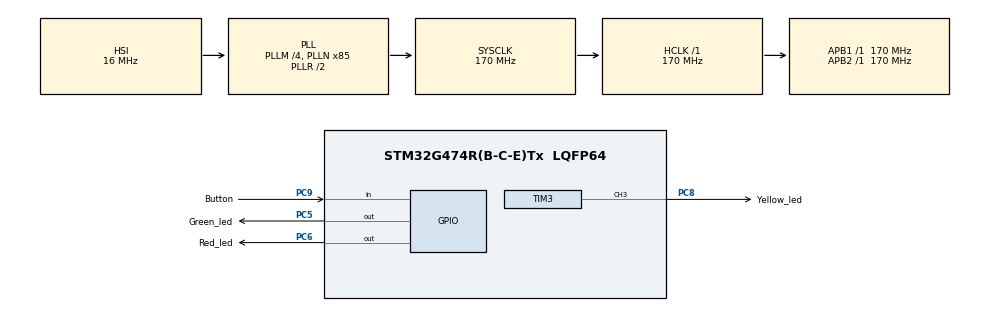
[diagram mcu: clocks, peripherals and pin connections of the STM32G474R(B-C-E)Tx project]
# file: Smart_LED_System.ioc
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Mcu.Family=STM32G4
Mcu.Name=STM32G474R(B-C-E)Tx
Mcu.Package=LQFP64
NUCLEO-G474RE.BUTTON=1
NUCLEO-G474RE.LD2=true
NUCLEO-G474RE.VCP=true
NVIC.EXTI15_10_IRQn=true\:0\:0\:false\:false\:true\:false\:true\:true
NVIC.PriorityGroup=NVIC_PRIORITYGROUP_4
PA13.GPIO_Label=T_SWDIO
PA13.Mode=Serial_Wire
PA13.Signal=SYS_JTMS-SWDIO
PA14.GPIO_Label=T_SWCLK
PA14.Mode=Serial_Wire
PA14.Signal=SYS_JTCK-SWCLK
PA2.Signal=LPUART1_TX
PA3.Signal=LPUART1_RX
PB3.GPIO_Label=T_SWO
PB3.Signal=SYS_JTDO-SWO
PC14-OSC32_IN.GPIO_Label=RCC_OSC32_IN
PC14-OSC32_IN.Signal=RCC_OSC32_IN
PC15-OSC32_OUT.GPIO_Label=RCC_OSC32_OUT
PC15-OSC32_OUT.Signal=RCC_OSC32_OUT
PC5.GPIO_Label=Green_led
PC5.Signal=GPIO_Output
PC6.GPIO_Label=Red_led
PC6.Signal=GPIO_Output
PC8.GPIO_Label=Yellow_led
PC8.Signal=S_TIM3_CH3
PC9.GPIO_Label=Button
PC9.GPIO_PuPd=GPIO_PULLUP
PC9.Signal=GPIO_Input
PF0-OSC_IN.GPIO_Label=RCC_OSC_IN
PF0-OSC_IN.Mode=HSE-External-Clock-Source
PF0-OSC_IN.Signal=RCC_OSC_IN
PF1-OSC_OUT.GPIO_Label=RCC_OSC_OUT
PF1-OSC_OUT.Signal=RCC_OSC_OUT
ProjectManager.HeapSize=0x200
ProjectManager.StackSize=0x400
ProjectManager.TargetToolchain=STM32CubeIDE
RCC.ADC12Freq_Value=170000000
RCC.ADC345Freq_Value=170000000
RCC.AHBFreq_Value=170000000
RCC.APB1Freq_Value=170000000
RCC.APB1TimFreq_Value=170000000
RCC.APB2Freq_Value=170000000
RCC.APB2TimFreq_Value=170000000
RCC.CortexFreq_Value=170000000
RCC.EXTERNAL_CLOCK_VALUE=12288000
RCC.HCLKFreq_Value=170000000
RCC.HSE_VALUE=24000000
RCC.HSI48_VALUE=48000000
RCC.HSI_VALUE=16000000
RCC.LSE_VALUE=32768
RCC.PLLM=RCC_PLLM_DIV4
RCC.PLLN=85
RCC.RTCClockSelection=RCC_RTCCLKSOURCE_LSE
RCC.SYSCLKFreq_VALUE=170000000
RCC.SYSCLKSource=RCC_SYSCLKSOURCE_PLLCLK
RCC.USBFreq_Value=170000000
RCC.VCOOutputFreq_Value=340000000
SH.S_TIM3_CH3.0=TIM3_CH3,PWM Generation3 CH3
TIM3.Channel-PWM\ Generation3\ CH3=TIM_CHANNEL_3
TIM3.PeriodNoDither=999
TIM3.Prescaler=169
VP_NUCLEO-G474RE_VS_BSP_COMMON.Mode=COMMON
VP_SYS_VS_DBSignals.Mode=DisableDeadBatterySignals
VP_TIM3_VS_ClockSourceINT.Mode=Internal
board=NUCLEO-G474RE

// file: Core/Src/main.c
/* USER CODE BEGIN Header */
/**
  ******************************************************************************
  * @file           : main.c
  * @brief          : Main program body
  ******************************************************************************
  * @attention
  *
  * Copyright (c) 2026 STMicroelectronics.
  * All rights reserved.
  *
  * This software is licensed under terms that can be found in the LICENSE file
  * in the root directory of this software component.
  * If no LICENSE file comes with this software, it is provided AS-IS.
  *
  ******************************************************************************
  */
/* USER CODE END Header */
#include "main.h"

TIM_HandleTypeDef htim3;

void SystemClock_Config(void);
static void MX_GPIO_Init(void);
static void MX_TIM3_Init(void);

/* USER CODE BEGIN 0 */

/* =========================================================
 * 第一部分：腳位定義
 * ========================================================= */

#define GREEN_PORT GPIOC               // 綠燈使用 GPIOC
#define GREEN_PIN GPIO_PIN_5           // 綠燈連接 PC5

#define RED_PORT GPIOC                 // 紅燈使用 GPIOC
#define RED_PIN GPIO_PIN_6             // 紅燈連接 PC6

#define BUTTON_PORT GPIOC              // 按鈕使用 GPIOC
#define BUTTON_PIN GPIO_PIN_9          // 按鈕連接 PC9

/* =========================================================
 * 第二部分：時間參數
 * ========================================================= */

#define GREEN_TIME 3000U               // 綠燈恆亮 3 秒
#define YELLOW_TIME 6000U              // 黃燈總共呼吸 6 秒
#define BREATH_PERIOD 2000U            // 每次呼吸 2 秒，6 秒完成 3 次
#define BREATH_STEP 10U                // 每 10 毫秒更新一次呼吸亮度
#define FLASH_TIME 250U                // 紅燈每 250 毫秒切換亮滅
#define DEBOUNCE_TIME 30U              // 按鈕防彈跳時間 30 毫秒

#define PWM_MAX 999U                   // PWM 最大比較值，對應 ARR=999

/* =========================================================
 * 第三部分：系統狀態
 * ========================================================= */

typedef enum                           // 建立系統狀態型態
{
    STATE_GREEN,                       // 狀態一：綠燈恆亮
    STATE_YELLOW,                      // 狀態二：黃燈呼吸
    STATE_RED                          // 狀態三：紅燈持續閃爍
} SystemState;                         // 狀態型態名稱

static SystemState currentState = STATE_GREEN; // 系統預設為綠燈

/* =========================================================
 * 第四部分：時間變數
 * ========================================================= */

static uint32_t stateStartTime = 0U;    // 記錄目前狀態開始時間
static uint32_t lastFlashTime = 0U;     // 記錄紅燈上次切換時間
static uint32_t lastBreathTime = 0U;    // 記錄黃燈上次更新時間

/* =========================================================
 * 第五部分：按鈕變數
 * ========================================================= */

static GPIO_PinState lastRawButton = GPIO_PIN_SET; // 上一次原始按鈕電位
static GPIO_PinState stableButton = GPIO_PIN_SET;  // 防彈跳後的穩定電位
static uint32_t buttonChangeTime = 0U;             // 按鈕電位改變時間

/* =========================================================
 * 第六部分：隨機數變數
 * ========================================================= */

static uint32_t randomSeed = 0x12345678U; // 偽隨機數種子

/* =========================================================
 * 第七部分：函式宣告
 * ========================================================= */

static void AllLED_Off(void);                    // 關閉全部 LED
static void ChangeState(SystemState nextState);  // 切換系統狀態
static uint8_t ButtonPressed(void);              // 偵測按鈕
static void PrivacySystem_Update(void);          // 更新系統狀態

/* =========================================================
 * 第八部分：關閉所有 LED
 * ========================================================= */

static void AllLED_Off(void)            // 關閉所有 LED 的函式
{
    HAL_GPIO_WritePin(GREEN_PORT, GREEN_PIN, GPIO_PIN_RESET); // 關閉綠燈

    HAL_GPIO_WritePin(RED_PORT, RED_PIN, GPIO_PIN_RESET); // 關閉紅燈

    __HAL_TIM_SET_COMPARE(&htim3, TIM_CHANNEL_3, 0U); // 黃燈亮度設為 0
}

/* =========================================================
 * 第九部分：切換系統狀態
 * ========================================================= */

static void ChangeState(SystemState nextState) // 切換狀態函式
{
    currentState = nextState;                 // 更新目前狀態

    stateStartTime = HAL_GetTick();           // 記錄狀態開始時間

    lastFlashTime = stateStartTime;           // 重設紅燈計時

    lastBreathTime = stateStartTime;          // 重設黃燈計時

    AllLED_Off();                             // 切換狀態前先關閉全部 LED

    switch (currentState)                     // 判斷要進入哪個狀態
    {
        case STATE_GREEN:                     // 如果進入綠燈狀態

            HAL_GPIO_WritePin(GREEN_PORT, GREEN_PIN, GPIO_PIN_SET); // 開啟綠燈

            break;                            // 結束綠燈設定

        case STATE_YELLOW:                    // 如果進入黃燈狀態

            // 黃燈亮度由主控制函式逐步更新

            break;                            // 結束黃燈設定

        case STATE_RED:                       // 如果進入紅燈狀態

            HAL_GPIO_WritePin(RED_PORT, RED_PIN, GPIO_PIN_SET); // 先開啟紅燈

            break;                            // 結束紅燈設定

        default:                              // 如果出現未定義狀態

            break;                            // 不執行其他動作
    }
}

/* =========================================================
 * 第十部分：按鈕防彈跳偵測
 * ========================================================= */

static uint8_t ButtonPressed(void)               // 偵測新的按鈕按下事件
{
    GPIO_PinState rawButton;                     // 儲存按鈕原始電位

    uint32_t now = HAL_GetTick();                // 取得目前時間

    rawButton = HAL_GPIO_ReadPin(BUTTON_PORT, BUTTON_PIN); // 讀取 PC9

    if (rawButton != lastRawButton)              // 如果按鈕原始電位改變
    {
        lastRawButton = rawButton;               // 記錄新的原始電位

        buttonChangeTime = now;                 // 記錄按鈕電位改變時間
    }

    if ((now - buttonChangeTime) >= DEBOUNCE_TIME) // 電位穩定 30 毫秒
    {
        if (rawButton != stableButton)           // 如果穩定後的電位有改變
        {
            stableButton = rawButton;            // 更新穩定後的按鈕電位

            if (stableButton == GPIO_PIN_RESET)  // 如果按鈕被按下
            {
                return 1U;                      // 回傳 1，表示按下
            }
        }
    }

    return 0U;                                   // 沒有新的按下事件
}

/* =========================================================
 * 第十一部分：主要控制函式
 * ========================================================= */

static void PrivacySystem_Update(void)           // 系統主要控制函式
{
    uint32_t now = HAL_GetTick();                // 取得目前系統時間

    uint32_t elapsed = now - stateStartTime;     // 計算目前狀態經過的時間

    uint32_t breathPosition = 0U;                // 記錄目前呼吸週期的位置

    uint32_t brightness = 0U;                    // 記錄 PWM 亮度

    uint8_t pressed = ButtonPressed();           // 偵測按鈕是否被按下

    switch (currentState)                        // 根據目前狀態執行功能
    {
        /* =================================================
         * 狀態一：綠燈恆亮 3 秒
         * ================================================= */

        case STATE_GREEN:                        // 進入綠燈狀態

            if (elapsed >= GREEN_TIME)           // 如果綠燈已經持續 3 秒
            {
                ChangeState(STATE_YELLOW);       // 切換至黃燈呼吸狀態
            }

            break;                               // 結束綠燈狀態

        /* =================================================
         * 狀態二：黃燈 6 秒內呼吸 3 次
         * ================================================= */

        case STATE_YELLOW:                       // 進入黃燈呼吸狀態

            if (elapsed >= YELLOW_TIME)          // 如果黃燈已經持續 6 秒
            {
                __HAL_TIM_SET_COMPARE(&htim3, TIM_CHANNEL_3, 0U); // 關閉黃燈

                randomSeed ^= randomSeed << 13;  // 產生偽隨機數第一步

                randomSeed ^= randomSeed >> 17;  // 產生偽隨機數第二步

                randomSeed ^= randomSeed << 5;   // 產生偽隨機數第三步

                if ((randomSeed & 1U) == 0U)     // 如果隨機結果為 0
                {
                    ChangeState(STATE_GREEN);    // 返回綠燈重新循環
                }
                else                            // 如果隨機結果為 1
                {
                    ChangeState(STATE_RED);      // 進入紅燈警示狀態
                }
            }
            else if ((now - lastBreathTime) >= BREATH_STEP) // 每 10 毫秒更新一次
            {
                lastBreathTime = now;            // 記錄這次更新時間

                breathPosition = elapsed % BREATH_PERIOD; // 取得 2 秒內的位置

                if (breathPosition <= BREATH_PERIOD / 2U) // 每次呼吸前 1 秒
                {
                    brightness = (breathPosition * PWM_MAX) / (BREATH_PERIOD / 2U); // 逐漸變亮
                }
                else                            // 每次呼吸後 1 秒
                {
                    brightness = ((BREATH_PERIOD - breathPosition) * PWM_MAX) / (BREATH_PERIOD / 2U); // 逐漸變暗
                }

                __HAL_TIM_SET_COMPARE(&htim3, TIM_CHANNEL_3, brightness); // 更新 PWM 亮度
            }

            break;                               // 結束黃燈狀態

        /* =================================================
         * 狀態三：紅燈持續閃爍
         * ================================================= */

        case STATE_RED:                          // 進入紅燈警示狀態

            if (pressed == 1U)                    // 判斷是否按下按鈕
            {
                ChangeState(STATE_GREEN);        // 按下後返回綠燈
            }
            else if ((now - lastFlashTime) >= FLASH_TIME) // 每隔 250 毫秒
            {
                lastFlashTime = now;             // 記錄切換時間

                HAL_GPIO_TogglePin(RED_PORT, RED_PIN); // 切換紅燈亮滅
            }

            // 沒按按鈕時，保持 STATE_RED 狀態並持續閃爍

            break;                               // 結束紅燈狀態

        /* =================================================
         * 異常狀態處理
         * ================================================= */

        default:                                 // 如果系統進入未知狀態

            ChangeState(STATE_GREEN);           // 返回綠燈重新開始

            break;                               // 結束狀態判斷
    }
}

/* USER CODE END 0 */

int main(void)
{

  /* MCU Configuration--------------------------------------------------------*/

  /* Reset of all peripherals, Initializes the Flash interface and the Systick. */
  HAL_Init();

  /* Configure the system clock */
  SystemClock_Config();

  /* Initialize all configured peripherals */
  MX_GPIO_Init();
  MX_TIM3_Init();
  /* USER CODE BEGIN 2 */

  // 啟動 TIM3 Channel 3 PWM
  if (HAL_TIM_PWM_Start(&htim3, TIM_CHANNEL_3) != HAL_OK)
  {
      Error_Handler();                             // 啟動失敗時進入錯誤處理
  }

  // 將黃色 LED 初始亮度設定為 0
  __HAL_TIM_SET_COMPARE(&htim3, TIM_CHANNEL_3, 0U);

  // 讀取按鈕初始狀態
  lastRawButton = HAL_GPIO_ReadPin(BUTTON_PORT, BUTTON_PIN);

  // 初始化按鈕穩定狀態
  stableButton = lastRawButton;

  // 記錄按鈕初始化時間
  buttonChangeTime = HAL_GetTick();

  // 將系統時間混入隨機種子
  randomSeed ^= HAL_GetTick();

  // 避免隨機種子為 0
  if (randomSeed == 0U)
  {
      randomSeed = 0x12345678U;                    // 使用非零隨機種子
  }

  // 設定系統初始狀態為綠燈
  ChangeState(STATE_GREEN);

  /* USER CODE END 2 */

  /* Infinite loop */
  while (1)
  {

	  PrivacySystem_Update();     // 持續更新 LED、按鈕與系統狀態

  }
}

void SystemClock_Config(void)
{
  RCC_OscInitTypeDef RCC_OscInitStruct = {0};
  RCC_ClkInitTypeDef RCC_ClkInitStruct = {0};

  /** Configure the main internal regulator output voltage
  */
  HAL_PWREx_ControlVoltageScaling(PWR_REGULATOR_VOLTAGE_SCALE1_BOOST);

  /** Initializes the RCC Oscillators according to the specified parameters
  * in the RCC_OscInitTypeDef structure.
  */
  RCC_OscInitStruct.OscillatorType = RCC_OSCILLATORTYPE_HSI;
  RCC_OscInitStruct.HSIState = RCC_HSI_ON;
  RCC_OscInitStruct.HSICalibrationValue = RCC_HSICALIBRATION_DEFAULT;
  RCC_OscInitStruct.PLL.PLLState = RCC_PLL_ON;
  RCC_OscInitStruct.PLL.PLLSource = RCC_PLLSOURCE_HSI;
  RCC_OscInitStruct.PLL.PLLM = RCC_PLLM_DIV4;
  RCC_OscInitStruct.PLL.PLLN = 85;
  RCC_OscInitStruct.PLL.PLLP = RCC_PLLP_DIV2;
  RCC_OscInitStruct.PLL.PLLQ = RCC_PLLQ_DIV2;
  RCC_OscInitStruct.PLL.PLLR = RCC_PLLR_DIV2;
  if (HAL_RCC_OscConfig(&RCC_OscInitStruct) != HAL_OK)
  {
    Error_Handler();
  }

  /** Initializes the CPU, AHB and APB buses clocks
  */
  RCC_ClkInitStruct.ClockType = RCC_CLOCKTYPE_HCLK|RCC_CLOCKTYPE_SYSCLK
                              |RCC_CLOCKTYPE_PCLK1|RCC_CLOCKTYPE_PCLK2;
  RCC_ClkInitStruct.SYSCLKSource = RCC_SYSCLKSOURCE_PLLCLK;
  RCC_ClkInitStruct.AHBCLKDivider = RCC_SYSCLK_DIV1;
  RCC_ClkInitStruct.APB1CLKDivider = RCC_HCLK_DIV1;
  RCC_ClkInitStruct.APB2CLKDivider = RCC_HCLK_DIV1;

  if (HAL_RCC_ClockConfig(&RCC_ClkInitStruct, FLASH_LATENCY_4) != HAL_OK)
  {
    Error_Handler();
  }
}

static void MX_TIM3_Init(void)
{

  TIM_ClockConfigTypeDef sClockSourceConfig = {0};
  TIM_MasterConfigTypeDef sMasterConfig = {0};
  TIM_OC_InitTypeDef sConfigOC = {0};

  htim3.Instance = TIM3;
  htim3.Init.Prescaler = 169;
  htim3.Init.CounterMode = TIM_COUNTERMODE_UP;
  htim3.Init.Period = 999;
  htim3.Init.ClockDivision = TIM_CLOCKDIVISION_DIV1;
  htim3.Init.AutoReloadPreload = TIM_AUTORELOAD_PRELOAD_DISABLE;
  if (HAL_TIM_Base_Init(&htim3) != HAL_OK)
  {
    Error_Handler();
  }
  sClockSourceConfig.ClockSource = TIM_CLOCKSOURCE_INTERNAL;
  if (HAL_TIM_ConfigClockSource(&htim3, &sClockSourceConfig) != HAL_OK)
  {
    Error_Handler();
  }
  if (HAL_TIM_PWM_Init(&htim3) != HAL_OK)
  {
    Error_Handler();
  }
  sMasterConfig.MasterOutputTrigger = TIM_TRGO_RESET;
  sMasterConfig.MasterSlaveMode = TIM_MASTERSLAVEMODE_DISABLE;
  if (HAL_TIMEx_MasterConfigSynchronization(&htim3, &sMasterConfig) != HAL_OK)
  {
    Error_Handler();
  }
  sConfigOC.OCMode = TIM_OCMODE_PWM1;
  sConfigOC.Pulse = 0;
  sConfigOC.OCPolarity = TIM_OCPOLARITY_HIGH;
  sConfigOC.OCFastMode = TIM_OCFAST_DISABLE;
  if (HAL_TIM_PWM_ConfigChannel(&htim3, &sConfigOC, TIM_CHANNEL_3) != HAL_OK)
  {
    Error_Handler();
  }
  HAL_TIM_MspPostInit(&htim3);

}

static void MX_GPIO_Init(void)
{
  GPIO_InitTypeDef GPIO_InitStruct = {0};

  /* GPIO Ports Clock Enable */
  __HAL_RCC_GPIOC_CLK_ENABLE();
  __HAL_RCC_GPIOF_CLK_ENABLE();
  __HAL_RCC_GPIOA_CLK_ENABLE();
  __HAL_RCC_GPIOB_CLK_ENABLE();

  /*Configure GPIO pin Output Level */
  HAL_GPIO_WritePin(GPIOC, Green_led_Pin|Red_led_Pin, GPIO_PIN_RESET);

  /*Configure GPIO pins : Green_led_Pin Red_led_Pin */
  GPIO_InitStruct.Pin = Green_led_Pin|Red_led_Pin;
  GPIO_InitStruct.Mode = GPIO_MODE_OUTPUT_PP;
  GPIO_InitStruct.Pull = GPIO_NOPULL;
  GPIO_InitStruct.Speed = GPIO_SPEED_FREQ_LOW;
  HAL_GPIO_Init(GPIOC, &GPIO_InitStruct);

  /*Configure GPIO pin : Button_Pin */
  GPIO_InitStruct.Pin = Button_Pin;
  GPIO_InitStruct.Mode = GPIO_MODE_INPUT;
  GPIO_InitStruct.Pull = GPIO_PULLUP;
  HAL_GPIO_Init(Button_GPIO_Port, &GPIO_InitStruct);

}

void Error_Handler(void)
{
  __disable_irq();
  while (1)
  {
  }
}
